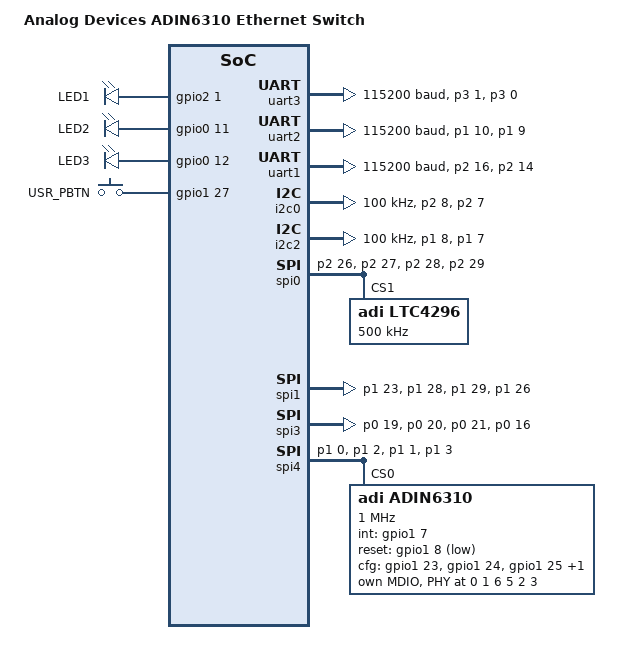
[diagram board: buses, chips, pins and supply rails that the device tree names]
/*
 * Copyright (c) 2023 Analog Devices, Inc.
 *
 * SPDX-License-Identifier: Apache-2.0
 */

/*
 * MFS — field switch. MAX32690 + ADIN6310.
 *
 * NO es la misma placa que el power switch (MPS-04P), aunque el hardware se
 * parezca y ambas lleven MAX32690 + ADIN6310. Diferencias que importan aqui:
 *
 *   |                 | MFS (esta)            | MPS-04P               |
 *   |-----------------|-----------------------|-----------------------|
 *   | Slots SPE       | 6                     | 4 (J3-J6 = Port 1-4)  |
 *   | RJ45            | no                    | si (Port 5, ADIN1300) |
 *   | Uplink a la TPU | PDM en el slot Port 1 | LAN7431 -> PCIe       |
 *   | Puertos PSE     | 5 (slots Port 2-6)    | 4 (LTC port0-3)       |
 *
 * Las dos compartian esta definicion de placa bajo el nombre `adin6310t1l`,
 * con un solo directorio en el arbol de Zephyr: quien lo editaba ultimo
 * mandaba para ambas compilaciones. Separadas el 2026-07-29.
 *
 * ⚠️ Aqui SOLO se declaran port0-port3 del LTC4296, igual que antes de
 * separar las placas. El MFS necesita un quinto (`port4` = slot Port 6,
 * lineas SCCP en P2.23/P2.24), pero anadirlo dejo la imagen SIN ARRANCAR
 * (PC en ROM, ni PSE ni switch) -- ver FLASHEO.md §6. Este fichero conserva
 * el estado que SI arranca; tener la placa separada es justo lo que permite
 * reintentarlo sin arriesgar al MPS. Al reintentar, bisecar y leer el PC
 * tras el POR antes de dar nada por bueno.
 */

/dts-v1/;

#include <adi/max32/max32690.dtsi>
#include <adi/max32/max32690-pinctrl.dtsi>
#include <zephyr/dt-bindings/gpio/adi-max32-gpio.h>
#include <zephyr/dt-bindings/sensor/ltc4296.h>

/ {
	model = "Analog Devices ADIN6310 Ethernet Switch";
	compatible = "adi,adin6310switch";

	soc {
		sram_all: memory@20020000 {
			compatible = "mmio-sram";
			reg = <0x20020000 DT_SIZE_K(1024)>;
		};
	};

	chosen {
		zephyr,console = &uart3;
		zephyr,shell-uart = &uart3;
		zephyr,sram = &sram_all;
		zephyr,flash = &flash0;
	};

	leds {
		compatible = "gpio-leds";
		blue_led: led_0 {
			gpios = <&gpio2 1 GPIO_ACTIVE_HIGH>;
			label = "LED1";
		};
		green_led: led_1 {
			gpios = <&gpio0 11 GPIO_ACTIVE_HIGH>;
			label = "LED2";
		};
		red_led: led_2 {
			gpios = <&gpio0 12 GPIO_ACTIVE_HIGH>;
			label = "LED3";
		};
	};

	buttons {
		compatible = "gpio-keys";
		pb0: pb0 {
			gpios = <&gpio1 27 GPIO_ACTIVE_HIGH>;
			label = "USR_PBTN";
		};
	};

	aliases {
		led0 = &blue_led;
		led1 = &green_led;
		led2 = &red_led;
		sw0 = &pb0;
	 };
};

&clk_ipo {
	status = "okay";
};

/*
 * ERTCO requires for RTC
 */
&clk_ertco {
	status = "okay";
};

&gpio0 {
	status = "okay";
};

&gpio1 {
	status = "okay";
};

&gpio2 {
	status = "okay";
};

&gpio3 {
	status = "okay";
};

&uart3 {
	pinctrl-0 = <&lpuart0b_tx_p3_1 &lpuart0b_rx_p3_0>;
	pinctrl-names = "default";
	current-speed = <115200>;
	data-bits = <8>;
	parity = "none";
	status = "okay";
};

&uart2 {
	pinctrl-0 = <&uart2a_tx_p1_10 &uart2a_rx_p1_9>;
	pinctrl-names = "default";
	current-speed = <115200>;
	data-bits = <8>;
	parity = "none";
	status = "okay";
};

&uart1 {
	pinctrl-0 = <&uart1a_tx_p2_16 &uart1a_rx_p2_14>;
	pinctrl-names = "default";
	current-speed = <115200>;
	data-bits = <8>;
	parity = "none";
	status = "okay";
};

&i2c0 {
	pinctrl-0 = <&i2c0a_scl_p2_8 &i2c0a_sda_p2_7>;
	pinctrl-names = "default";
	clock-frequency = <I2C_BITRATE_STANDARD>;
	status = "okay";
};

&i2c2 {
	pinctrl-0 = <&i2c2c_scl_p1_8 &i2c2c_sda_p1_7>;
	pinctrl-names = "default";
	clock-frequency = <I2C_BITRATE_STANDARD>;
	status = "okay";
};

&spi0b_ss1_p2_26 {
	power-source = <MAX32_VSEL_VDDIOH>;
};
&spi0b_miso_p2_27 {
	power-source = <MAX32_VSEL_VDDIOH>;
};
&spi0b_mosi_p2_28 {
	power-source = <MAX32_VSEL_VDDIOH>;
};
&spi0b_ss1_p2_26 {
	power-source = <MAX32_VSEL_VDDIOH>;
};
&spi0b_sck_p2_29 {
	power-source = <MAX32_VSEL_VDDIOH>;
};

&spi4a_ss0_p1_0 {
	power-source = <MAX32_VSEL_VDDIO>;
};

&spi4a_mosi_p1_1 {
	power-source = <MAX32_VSEL_VDDIO>;
};

&spi4a_miso_p1_2 {
	power-source = <MAX32_VSEL_VDDIO>;
};

&spi4a_sck_p1_3 {
	power-source = <MAX32_VSEL_VDDIO>;
};

&spi4a_sdio2_p1_4 {
	power-source = <MAX32_VSEL_VDDIO>;
};

&spi4a_sdio3_p1_5 {
	power-source = <MAX32_VSEL_VDDIO>;
};

&spi0 {
	pinctrl-0 = <&spi0b_ss1_p2_26 &spi0b_miso_p2_27
			&spi0b_mosi_p2_28 &spi0b_sck_p2_29>;
	pinctrl-names = "default";
	status = "okay";
	ltc4296: ltc4296@1 {
		compatible = "adi,ltc4296";
		zephyr,deferred-init;
		spi-max-frequency = <500000>;
		reg = <0x1>;

		port0 {
			sccpi-gpios = <&gpio2 14 (GPIO_ACTIVE_HIGH | GPIO_PULL_UP | MAX32_GPIO_VSEL_VDDIOH)>;
			sccpo-gpios = <&gpio2 15 (GPIO_ACTIVE_LOW | GPIO_PULL_UP | MAX32_GPIO_VSEL_VDDIOH)>;
			adi,power-class = <LTC4296_PSE>;
			adi,hs-resistor = <250>;
		};

		port1 {
			sccpi-gpios = <&gpio2 16 (GPIO_ACTIVE_HIGH | GPIO_PULL_UP | MAX32_GPIO_VSEL_VDDIOH)>;
			sccpo-gpios = <&gpio2 17 (GPIO_ACTIVE_LOW | GPIO_PULL_UP | MAX32_GPIO_VSEL_VDDIOH)>;
			adi,power-class = <LTC4296_PSE>;
			adi,hs-resistor = <250>;
		};

		port2 {
			sccpi-gpios = <&gpio2 18 (GPIO_ACTIVE_HIGH | GPIO_PULL_UP | MAX32_GPIO_VSEL_VDDIOH)>;
			sccpo-gpios = <&gpio2 20 (GPIO_ACTIVE_LOW | GPIO_PULL_UP | MAX32_GPIO_VSEL_VDDIOH)>;
			adi,power-class = <LTC4296_PSE>;
			adi,hs-resistor = <250>;
		};

		port3 {
			sccpi-gpios = <&gpio2 21 (GPIO_ACTIVE_HIGH | GPIO_PULL_UP | MAX32_GPIO_VSEL_VDDIOH)>;
			sccpo-gpios = <&gpio2 22 (GPIO_ACTIVE_LOW | GPIO_PULL_UP | MAX32_GPIO_VSEL_VDDIOH)>;
			adi,power-class = <LTC4296_PSE>;
			adi,hs-resistor = <250>;
		};
	};
};

&spi1 {
	pinctrl-0 = <&spi1a_ss0_p1_23 &spi1a_miso_p1_28
				&spi1a_mosi_p1_29 &spi1a_sck_p1_26>;
};

&spi3 {
	pinctrl-0 = <&spi3a_ss0_p0_19 &spi3a_miso_p0_20
				&spi3a_mosi_p0_21 &spi3a_sck_p0_16>;
};

&spi4 {
	pinctrl-0 = <&spi4a_ss0_p1_0 &spi4a_miso_p1_2
		     &spi4a_mosi_p1_1 &spi4a_sck_p1_3>;

	pinctrl-names = "default";
	status = "okay";

	adin6310: adin6310@0 {
		compatible = "adi,adin6310";
		reg = <0x0>;
		spi-max-frequency = <1000000>;
		int-gpios = <&gpio1 7 (GPIO_ACTIVE_HIGH | MAX32_GPIO_VSEL_VDDIO)>;
		reset-gpios = <&gpio1 8 (GPIO_ACTIVE_LOW | MAX32_GPIO_VSEL_VDDIO)>;
		cfg-gpios = <&gpio1 23 (GPIO_ACTIVE_HIGH | MAX32_GPIO_VSEL_VDDIOH)>,
			    <&gpio1 24 (GPIO_ACTIVE_HIGH | MAX32_GPIO_VSEL_VDDIOH)>,
			    <&gpio1 25 (GPIO_ACTIVE_HIGH | MAX32_GPIO_VSEL_VDDIOH)>,
			    <&gpio1 26 (GPIO_ACTIVE_HIGH | MAX32_GPIO_VSEL_VDDIOH)>;

		port0 {
			cpu-port;
			local-mac-address = [ 00 18 80 03 25 60 ];
			phy-connection-type = "rgmii";
		};
		port1 {
			local-mac-address = [ 00 18 80 03 25 61 ];
			phy-connection-type = "rmii";
		};
		port2 {
			local-mac-address = [ 00 18 80 03 25 62 ];
			phy-connection-type = "rmii";
		};
		port3 {
			local-mac-address = [ 00 18 80 03 25 63 ];
			phy-connection-type = "rmii";
		};
		port4 {
			local-mac-address = [ 00 18 80 03 25 64 ];
			phy-connection-type = "rmii";
		};
		port5 {
			local-mac-address = [ 00 18 80 03 25 65 ];
			phy-connection-type = "rmii";
		};

		mdio {
			compatible = "adi,adin6310-mdio";
			#address-cells = <1>;
			#size-cells = <0>;
			status = "okay";

			phy0: ethernet-phy@0 {
				reg = <0x0>;
				compatible = "adi,adin1100-phy";
				status = "okay";
			};
			phy1: ethernet-phy@1 {
				reg = <0x1>;
				compatible = "adi,adin1100-phy";
				status = "okay";
			};
			phy3: ethernet-phy@6 {
				reg = <0x6>;
				compatible = "ethernet-phy";
				status = "okay";
			};
			phy4: ethernet-phy@5 {
				reg = <0x5>;
				compatible = "ethernet-phy";
				status = "okay";
			};
			phy5: ethernet-phy@2 {
				reg = <0x2>;
				compatible = "adi,adin1100-phy";
				status = "okay";
			};
			phy6: ethernet-phy@3 {
				reg = <0x3>;
				compatible = "adi,adin1100-phy";
				status = "okay";
			};
		};
	};
};
